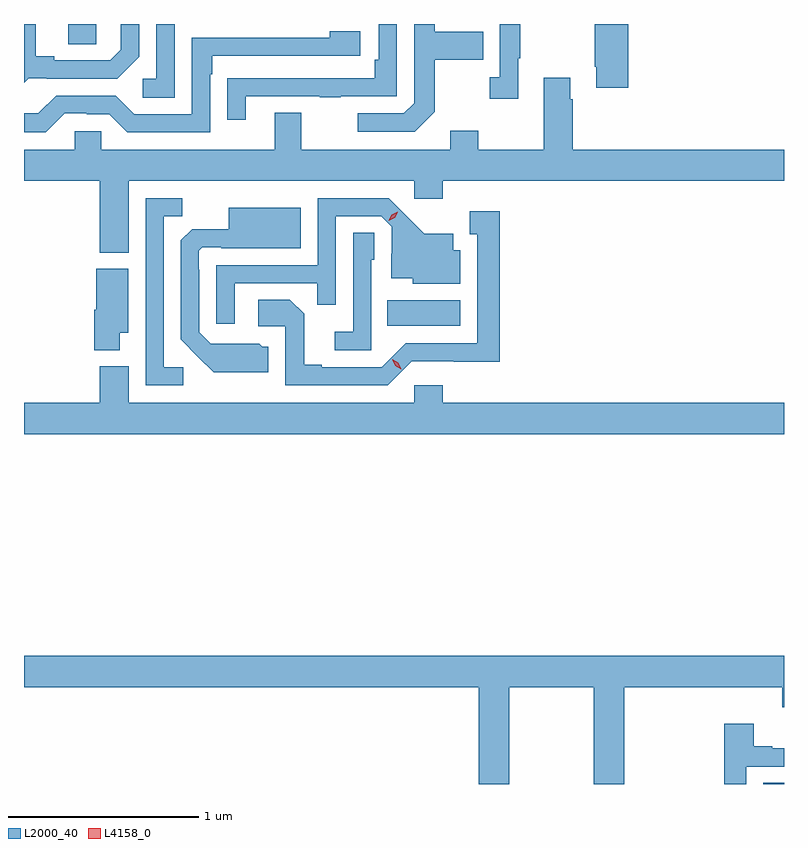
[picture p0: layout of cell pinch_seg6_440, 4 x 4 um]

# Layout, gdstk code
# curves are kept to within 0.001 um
import gdstk
lib = gdstk.Library(unit=1e-6, precision=1e-09)
def R(c, l, rs):  # rectangles x0, y0, x1, y1
    for r in rs: c.add(gdstk.rectangle(r[:2], r[2:], *l))
def P(c, l, *ps):  # polygons
    for p in ps: c.add(gdstk.Polygon(p, *l))
L2000_40 = (2000, 40)
L4158_0 = (4158, 0)

pinch_seg6_440 = lib.new_cell('pinch_seg6_440')
R(pinch_seg6_440, L2000_40, [(724.76,918.854,724.869,918.86), (722.782,921.266,723.166,921.4), (721.103,922.747,721.248,922.854)])
P(pinch_seg6_440, L2000_40, [(720.894,922.569),(720.988,922.569),(720.988,922.566),(721.36,922.566),(721.476,922.682),(721.476,922.854),(721.379,922.854),(721.379,922.719),(721.322,922.662),(721.027,922.662),(721.027,922.685),(720.931,922.685),(720.931,922.854),(720.869,922.854),(720.869,922.544)],
  [(722.035,922.473),(722.425,922.473),(722.425,922.468),(722.537,922.468),(722.537,922.473),(722.832,922.473),(722.832,922.854),(722.736,922.854),(722.736,922.666),(722.716,922.666),(722.716,922.569),(722.041,922.569),(722.041,922.568),(721.939,922.568),(721.939,922.35),(722.035,922.35)],
  [(724.049,922.854),(723.874,922.854),(723.874,922.63),(723.881,922.63),(723.881,922.518),(724.049,922.518)],
  [(723.469,922.673),(723.481,922.673),(723.481,922.854),(723.36,922.854),(723.36,922.853),(723.372,922.853),(723.372,922.574),(723.321,922.574),(723.321,922.461),(723.469,922.461)],
  [(723.031,922.393),(723.031,922.666),(723.287,922.666),(723.287,922.813),(723.031,922.813),(723.031,922.854),(722.922,922.854),(722.922,922.437),(722.868,922.383),(722.625,922.383),(722.625,922.287),(722.925,922.287)],
  [(721.662,922.854),(721.566,922.854),(721.566,922.566),(721.494,922.566),(721.494,922.465),(721.662,922.465)],
  [(721.083,922.383),(721.199,922.383),(721.199,922.38),(721.317,922.38),(721.413,922.284),(721.848,922.284),(721.848,922.589),(721.861,922.589),(721.861,922.686),(722.638,922.686),(722.638,922.816),(722.477,922.816),(722.477,922.782),(721.752,922.782),(721.752,922.38),(721.449,922.38),(721.353,922.476),(721.038,922.476),(720.945,922.383),(720.869,922.383),(720.869,922.283),(720.983,922.283)],
  [(721.42,922.028),(722.922,922.028),(722.922,921.933),(723.074,921.933),(723.074,922.028),(724.869,922.028),(724.869,922.192),(723.758,922.192),(723.758,922.457),(723.745,922.457),(723.745,922.57),(723.605,922.57),(723.605,922.192),(723.261,922.192),(723.261,922.291),(723.113,922.291),(723.113,922.192),(722.329,922.192),(722.329,922.387),(722.189,922.387),(722.189,922.192),(721.275,922.192),(721.275,922.29),(721.137,922.29),(721.137,922.192),(720.869,922.192),(720.869,922.028),(721.268,922.028),(721.268,921.65),(721.42,921.65)],
  [(721.977,921.489),(722.413,921.489),(722.413,921.376),(722.511,921.376),(722.511,921.843),(722.748,921.843),(722.805,921.786),(722.805,921.644),(722.801,921.644),(722.801,921.515),(722.916,921.515),(722.916,921.488),(723.166,921.488),(723.166,921.664),(723.127,921.664),(723.127,921.751),(722.975,921.751),(722.788,921.936),(722.415,921.936),(722.415,921.585),(721.881,921.585),(721.881,921.276),(721.977,921.276)],
  [(721.708,921.048),(721.605,921.048),(721.605,921.841),(721.701,921.841),(721.701,921.936),(721.509,921.936),(721.509,920.952),(721.708,920.952)],
  [(722.155,921.156),(722.124,921.156),(722.108,921.172),(721.851,921.171),(721.791,921.231),(721.791,921.56),(721.788,921.56),(721.788,921.66),(721.806,921.678),(721.906,921.678),(721.906,921.674),(722.326,921.674),(722.326,921.886),(721.946,921.886),(721.946,921.775),(721.754,921.775),(721.695,921.716),(721.695,921.194),(721.867,921.02),(722.155,921.02)],
  [(722.91,921.078),(723.373,921.077),(723.373,921.868),(723.215,921.868),(723.215,921.747),(723.254,921.747),(723.254,921.174),(722.877,921.174),(722.751,921.048),(722.437,921.048),(722.437,921.061),(722.343,921.061),(722.343,921.328),(722.267,921.404),(722.103,921.404),(722.103,921.264),(722.244,921.264),(722.244,920.952),(722.784,920.952)],
  [(722.697,921.612),(722.712,921.612),(722.712,921.755),(722.601,921.755),(722.601,921.235),(722.505,921.235),(722.505,921.138),(722.697,921.138)],
  [(721.372,921.23),(721.417,921.23),(721.417,921.565),(721.25,921.565),(721.25,921.351),(721.238,921.351),(721.238,921.137),(721.372,921.137)],
  [(724.869,920.86),(723.074,920.86),(723.074,920.953),(722.922,920.953),(722.922,920.86),(721.42,920.86),(721.42,921.052),(721.268,921.052),(721.268,920.86),(720.869,920.86),(720.869,920.696),(724.869,920.696)],
  [(723.423,919.364),(723.868,919.364),(723.868,918.854),(724.028,918.854),(724.028,919.364),(724.859,919.364),(724.859,919.258),(724.869,919.258),(724.869,919.528),(720.869,919.528),(720.869,919.364),(723.263,919.364),(723.263,918.854),(723.423,918.854)],
  [(724.671,918.945),(724.869,918.945),(724.869,919.041),(724.807,919.041),(724.807,919.054),(724.711,919.054),(724.711,919.171),(724.555,919.171),(724.555,918.854),(724.671,918.854)])
P(pinch_seg6_440, L4158_0, [(722.855,921.037),(722.823,921.056),(722.806,921.089),(722.806,921.089),(722.806,921.089),(722.838,921.07),(722.855,921.038),(722.855,921.037)],
  [(722.788,921.819),(722.788,921.82),(722.805,921.849),(722.836,921.865),(722.836,921.865),(722.836,921.864),(722.819,921.835),(722.788,921.819)])

lib.write_gds('pinch_seg6_440.gds')
